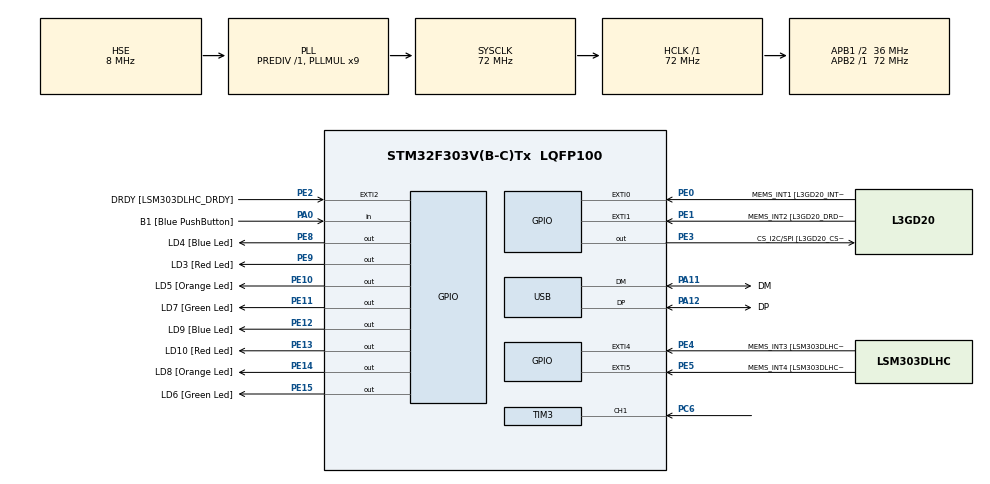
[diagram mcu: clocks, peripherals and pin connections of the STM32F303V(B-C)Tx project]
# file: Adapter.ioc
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Mcu.Family=STM32F3
Mcu.Name=STM32F303V(B-C)Tx
Mcu.Package=LQFP100
NVIC.PriorityGroup=NVIC_PRIORITYGROUP_0
NVIC.TIM3_IRQn=true\:0\:0\:false
NVIC.USB_LP_CAN_RX0_IRQn=true\:0\:0\:false
PA0.GPIO_Label=B1 [Blue PushButton]
PA0.GPIO_Mode=GPIO_MODE_INPUT
PA0.GPIO_PuPd=GPIO_NOPULL
PA0.Signal=GPIO_Input
PA11.GPIO_Label=DM
PA11.GPIO_Mode=GPIO_MODE_AF_PP
PA11.GPIO_PuPd=GPIO_NOPULL
PA11.GPIO_Speed=GPIO_SPEED_HIGH
PA11.Mode=Device
PA11.Signal=USB_DM
PA12.GPIO_Label=DP
PA12.GPIO_Mode=GPIO_MODE_AF_PP
PA12.GPIO_PuPd=GPIO_NOPULL
PA12.GPIO_Speed=GPIO_SPEED_HIGH
PA12.Mode=Device
PA12.Signal=USB_DP
PA13.GPIO_Label=SWDIO
PA13.Mode=Trace-Asynchronous_SW
PA13.Signal=SYS_JTMS-SWDIO
PA14.GPIO_Label=SWCLK
PA14.Mode=Trace-Asynchronous_SW
PA14.Signal=SYS_JTCK-SWCLK
PA5.GPIO_Label=SPI1_SCK [L3GD20_SCL/SPC]
PA5.GPIO_Mode=GPIO_MODE_AF_PP
PA5.GPIO_PuPd=GPIO_NOPULL
PA5.GPIO_Speed=GPIO_SPEED_LOW
PA5.Signal=SPI1_SCK
PA6.GPIO_Label=SPI1_MISO [L3GD20_SA0/SDO]
PA6.GPIO_Mode=GPIO_MODE_AF_PP
PA6.GPIO_PuPd=GPIO_NOPULL
PA6.GPIO_Speed=GPIO_SPEED_LOW
PA6.Signal=SPI1_MISO
PA7.GPIO_Label=SPI1_MISO [L3GD20_SDA/SDI/SDO]
PA7.GPIO_Mode=GPIO_MODE_AF_PP
PA7.GPIO_PuPd=GPIO_NOPULL
PA7.GPIO_Speed=GPIO_SPEED_LOW
PA7.Signal=SPI1_MOSI
PB3.GPIO_Label=SWO
PB3.Mode=Trace-Asynchronous_SW
PB3.Signal=SYS_JTDO-TRACESWO
PB6.GPIO_FM6=__NULL
PB6.GPIO_Label=I2C1_SCL [LSM303DLHC_SCL]
PB6.GPIO_Mode=GPIO_MODE_AF_OD
PB6.GPIO_PuPd=GPIO_NOPULL
PB6.GPIO_PuPdOD=GPIO_PULLUP
PB6.GPIO_Speed=GPIO_SPEED_LOW
PB6.Signal=I2C1_SCL
PB7.GPIO_FM7=__NULL
PB7.GPIO_Label=I2C1_SDA [LSM303DLHC_SDA]
PB7.GPIO_Mode=GPIO_MODE_AF_OD
PB7.GPIO_PuPd=GPIO_NOPULL
PB7.GPIO_PuPdOD=GPIO_PULLUP
PB7.GPIO_Speed=GPIO_SPEED_LOW
PB7.Signal=I2C1_SDA
PC14-OSC32_IN.GPIO_Label=OSC32_IN
PC14-OSC32_IN.Signal=RCC_OSC32_IN
PC15-OSC32_OUT.GPIO_Label=OSC32_OUT
PC15-OSC32_OUT.Signal=RCC_OSC32_OUT
PC6.Signal=S_TIM3_CH1
PE0.GPIO_Label=MEMS_INT1 [L3GD20_INT1]
PE0.GPIO_ModeDefaultEXTI=GPIO_MODE_EVT_RISING
PE0.GPIO_PuPd=GPIO_NOPULL
PE0.Signal=GPXTI0
PE1.GPIO_Label=MEMS_INT2 [L3GD20_DRDY/INT2]
PE1.GPIO_ModeDefaultEXTI=GPIO_MODE_EVT_RISING
PE1.GPIO_PuPd=GPIO_NOPULL
PE1.Signal=GPXTI1
PE10.GPIO_Label=LD5 [Orange Led]
PE10.GPIO_ModeDefaultOutputPP=GPIO_MODE_OUTPUT_PP
PE10.GPIO_PuPd=GPIO_NOPULL
PE10.GPIO_Speed=GPIO_SPEED_LOW
PE10.Signal=GPIO_Output
PE11.GPIO_Label=LD7 [Green Led]
PE11.GPIO_ModeDefaultOutputPP=GPIO_MODE_OUTPUT_PP
PE11.GPIO_PuPd=GPIO_NOPULL
PE11.GPIO_Speed=GPIO_SPEED_LOW
PE11.Signal=GPIO_Output
PE12.GPIO_Label=LD9 [Blue Led]
PE12.GPIO_ModeDefaultOutputPP=GPIO_MODE_OUTPUT_PP
PE12.GPIO_PuPd=GPIO_NOPULL
PE12.GPIO_Speed=GPIO_SPEED_LOW
PE12.Signal=GPIO_Output
PE13.GPIO_Label=LD10 [Red Led]
PE13.GPIO_ModeDefaultOutputPP=GPIO_MODE_OUTPUT_PP
PE13.GPIO_PuPd=GPIO_NOPULL
PE13.GPIO_Speed=GPIO_SPEED_LOW
PE13.Signal=GPIO_Output
PE14.GPIO_Label=LD8 [Orange Led]
PE14.GPIO_ModeDefaultOutputPP=GPIO_MODE_OUTPUT_PP
PE14.GPIO_PuPd=GPIO_NOPULL
PE14.GPIO_Speed=GPIO_SPEED_LOW
PE14.Signal=GPIO_Output
PE15.GPIO_Label=LD6 [Green Led]
PE15.GPIO_ModeDefaultOutputPP=GPIO_MODE_OUTPUT_PP
PE15.GPIO_PuPd=GPIO_NOPULL
PE15.GPIO_Speed=GPIO_SPEED_LOW
PE15.Signal=GPIO_Output
PE2.GPIO_Label=DRDY [LSM303DLHC_DRDY]
PE2.GPIO_ModeDefaultEXTI=GPIO_MODE_EVT_RISING
PE2.GPIO_PuPd=GPIO_NOPULL
PE2.Signal=GPXTI2
PE3.GPIO_Label=CS_I2C/SPI [L3GD20_CS_I2C/SPI]
PE3.GPIO_ModeDefaultOutputPP=GPIO_MODE_OUTPUT_PP
PE3.GPIO_PuPd=GPIO_NOPULL
PE3.GPIO_Speed=GPIO_SPEED_LOW
PE3.Signal=GPIO_Output
PE4.GPIO_Label=MEMS_INT3 [LSM303DLHC_INT1]
PE4.GPIO_ModeDefaultEXTI=GPIO_MODE_EVT_RISING
PE4.GPIO_PuPd=GPIO_NOPULL
PE4.Signal=GPXTI4
PE5.GPIO_Label=MEMS_INT4 [LSM303DLHC_INT2]
PE5.GPIO_ModeDefaultEXTI=GPIO_MODE_EVT_RISING
PE5.GPIO_PuPd=GPIO_NOPULL
PE5.Signal=GPXTI5
PE8.GPIO_Label=LD4 [Blue Led]
PE8.GPIO_ModeDefaultOutputPP=GPIO_MODE_OUTPUT_PP
PE8.GPIO_PuPd=GPIO_NOPULL
PE8.GPIO_Speed=GPIO_SPEED_LOW
PE8.Signal=GPIO_Output
PE9.GPIO_Label=LD3 [Red Led]
PE9.GPIO_ModeDefaultOutputPP=GPIO_MODE_OUTPUT_PP
PE9.GPIO_PuPd=GPIO_NOPULL
PE9.GPIO_Speed=GPIO_SPEED_LOW
PE9.Signal=GPIO_Output
PF0-OSC_IN.GPIO_Label=OSC_IN
PF0-OSC_IN.Mode=HSE-External-Clock-Source
PF0-OSC_IN.Signal=RCC_OSC_IN
PF1-OSC_OUT.GPIO_Label=OSC_OUT
PF1-OSC_OUT.Signal=RCC_OSC_OUT
ProjectManager.TargetToolchain=MDK-ARM V5
RCC.AHBFreq_Value=72000000
RCC.APB1CLKDivider=RCC_HCLK_DIV2
RCC.APB1Freq_Value=36000000
RCC.APB1TimFreq_Value=72000000
RCC.APB2Freq_Value=72000000
RCC.APB2TimFreq_Value=72000000
RCC.CortexFreq_Value=72000000
RCC.HCLKFreq_Value=72000000
RCC.HSE_VALUE=8000000
RCC.HSIState=RCC_HSI_ON
RCC.HSI_VALUE=8000000
RCC.LSE_VALUE=32768
RCC.PLLMUL=RCC_PLL_MUL9
RCC.PRESCALERUSB=RCC_USBPLLCLK_DIV1_5
RCC.SYSCLKFreq_VALUE=72000000
RCC.SYSCLKSourceVirtual=RCC_SYSCLKSOURCE_PLLCLK
RCC.USBFreq_Value=48000000
SH.S_TIM3_CH1.0=TIM3_CH1,TriggerSource_TI1FP1
SH.S_TIM3_CH1.1=TIM3_CH1,Input_Capture1_from_TI1
TIM3.ICPolarity_CH1=TIM_INPUTCHANNELPOLARITY_FALLING
TIM3.Period=0xFFFF
TIM3.Prescaler=71
USB_DEVICE.PID_HID_FS=0x57FF
USB_DEVICE.PRODUCT_STRING_HID_FS=STM32 PPM-USB Adapter
USB_DEVICE.USBD_HandleTypeDef=hUsbDeviceFS
USB_DEVICE.VID=0x483
USB_DEVICE.VirtualMode=Hid
USB_DEVICE.VirtualModeFS=Hid_FS
VP_TIM3_VS_ClockSourceINT.Mode=Internal
VP_TIM3_VS_ControllerModeReset.Mode=Reset Mode
VP_USB_DEVICE_VS_USB_DEVICE_HID_FS.Mode=HID_FS
board=STM32F3DISCOVERY

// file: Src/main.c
/**
  ******************************************************************************
  * File Name          : main.c
  * Description        : Main program body
  ******************************************************************************
  *
  * COPYRIGHT(c) 2015 STMicroelectronics
  *
  * Redistribution and use in source and binary forms, with or without modification,
  * are permitted provided that the following conditions are met:
  *   1. Redistributions of source code must retain the above copyright notice,
  *      this list of conditions and the following disclaimer.
  *   2. Redistributions in binary form must reproduce the above copyright notice,
  *      this list of conditions and the following disclaimer in the documentation
  *      and/or other materials provided with the distribution.
  *   3. Neither the name of STMicroelectronics nor the names of its contributors
  *      may be used to endorse or promote products derived from this software
  *      without specific prior written permission.
  *
  * THIS SOFTWARE IS PROVIDED BY THE COPYRIGHT HOLDERS AND CONTRIBUTORS "AS IS"
  * AND ANY EXPRESS OR IMPLIED WARRANTIES, INCLUDING, BUT NOT LIMITED TO, THE
  * IMPLIED WARRANTIES OF MERCHANTABILITY AND FITNESS FOR A PARTICULAR PURPOSE ARE
  * DISCLAIMED. IN NO EVENT SHALL THE COPYRIGHT HOLDER OR CONTRIBUTORS BE LIABLE
  * FOR ANY DIRECT, INDIRECT, INCIDENTAL, SPECIAL, EXEMPLARY, OR CONSEQUENTIAL
  * DAMAGES (INCLUDING, BUT NOT LIMITED TO, PROCUREMENT OF SUBSTITUTE GOODS OR
  * SERVICES; LOSS OF USE, DATA, OR PROFITS; OR BUSINESS INTERRUPTION) HOWEVER
  * CAUSED AND ON ANY THEORY OF LIABILITY, WHETHER IN CONTRACT, STRICT LIABILITY,
  * OR TORT (INCLUDING NEGLIGENCE OR OTHERWISE) ARISING IN ANY WAY OUT OF THE USE
  * OF THIS SOFTWARE, EVEN IF ADVISED OF THE POSSIBILITY OF SUCH DAMAGE.
  *
  ******************************************************************************
  */
#include "stm32f3xx_hal.h"
#include "usb_device.h"

/* USER CODE BEGIN Includes */
#include "usbd_hid.h"
/* USER CODE END Includes */

TIM_HandleTypeDef htim3;

/* USER CODE BEGIN PV */
/* Private variables ---------------------------------------------------------*/
uint16_t captured_value[8] = {0};
uint16_t rc_data[5] = {0};
uint8_t pointer = 0;
uint8_t data_ready = 0;
/* USER CODE END PV */

void SystemClock_Config(void);
static void MX_GPIO_Init(void);
static void MX_TIM3_Init(void);

/* USER CODE BEGIN PFP */
/* Private function prototypes -----------------------------------------------*/

/* USER CODE END PFP */

/* USER CODE BEGIN 0 */
void HAL_TIM_IC_CaptureCallback(TIM_HandleTypeDef *htim)
{
	uint8_t i;
	uint16_t temp;
	temp = HAL_TIM_ReadCapturedValue(htim, TIM_CHANNEL_1);
	if ((temp > 5000) && (!data_ready))
	{
		pointer = 0;
		for (i = 0; i < 4; i++)
		{
			if (captured_value[i] < 1000)
				captured_value[i] = 1000;
			else if (captured_value[i] > 2000)
				captured_value[i] = 2000;
			rc_data[i] = captured_value[i]-1000;
		};
		rc_data[4] = 0;
		if (captured_value[4] > 1500)
			rc_data[4] |= (1<<4);
		if (captured_value[5] > 1500)
			rc_data[4] |= (1<<5);
		if (captured_value[6] > 1500)
			rc_data[4] |= (1<<6);
		if (captured_value[7] > 1500)
			rc_data[4] |= (1<<7);
		data_ready = 1;
	}
	else
	{
		captured_value[pointer] = temp;
		pointer++;
	};
	if (pointer == 8)
		pointer = 0;
};
/* USER CODE END 0 */

int main(void)
{

  /* MCU Configuration----------------------------------------------------------*/

  /* Reset of all peripherals, Initializes the Flash interface and the Systick. */
  HAL_Init();

  /* Configure the system clock */
  SystemClock_Config();

  /* Initialize all configured peripherals */
  MX_GPIO_Init();
  MX_TIM3_Init();
  MX_USB_DEVICE_Init();

  /* USER CODE BEGIN 2 */
	HAL_TIM_IC_Start_IT(&htim3, TIM_CHANNEL_1);
  /* USER CODE END 2 */

  /* Infinite loop */
  while (1)
  {

  /* USER CODE BEGIN 3 */
		if (data_ready)
		{
			USBD_HID_SendReport(&hUsbDeviceFS, (uint8_t*)rc_data, 10);
			data_ready = 0;
		}
  }
  /* USER CODE END 3 */

}

/** System Clock Configuration
*/
void SystemClock_Config(void)
{

  RCC_OscInitTypeDef RCC_OscInitStruct;
  RCC_ClkInitTypeDef RCC_ClkInitStruct;
  RCC_PeriphCLKInitTypeDef PeriphClkInit;

  RCC_OscInitStruct.OscillatorType = RCC_OSCILLATORTYPE_HSE;
  RCC_OscInitStruct.HSEState = RCC_HSE_BYPASS;
  RCC_OscInitStruct.HSEPredivValue = RCC_HSE_PREDIV_DIV1;
  RCC_OscInitStruct.PLL.PLLState = RCC_PLL_ON;
  RCC_OscInitStruct.PLL.PLLSource = RCC_PLLSOURCE_HSE;
  RCC_OscInitStruct.PLL.PLLMUL = RCC_PLL_MUL9;
  HAL_RCC_OscConfig(&RCC_OscInitStruct);

  RCC_ClkInitStruct.ClockType = RCC_CLOCKTYPE_SYSCLK|RCC_CLOCKTYPE_PCLK1;
  RCC_ClkInitStruct.SYSCLKSource = RCC_SYSCLKSOURCE_PLLCLK;
  RCC_ClkInitStruct.AHBCLKDivider = RCC_SYSCLK_DIV1;
  RCC_ClkInitStruct.APB1CLKDivider = RCC_HCLK_DIV2;
  RCC_ClkInitStruct.APB2CLKDivider = RCC_HCLK_DIV1;
  HAL_RCC_ClockConfig(&RCC_ClkInitStruct, FLASH_LATENCY_2);

  PeriphClkInit.PeriphClockSelection = RCC_PERIPHCLK_USB;
  PeriphClkInit.USBClockSelection = RCC_USBPLLCLK_DIV1_5;
  HAL_RCCEx_PeriphCLKConfig(&PeriphClkInit);

  HAL_SYSTICK_Config(HAL_RCC_GetHCLKFreq()/1000);

  HAL_SYSTICK_CLKSourceConfig(SYSTICK_CLKSOURCE_HCLK);

}

/* TIM3 init function */
void MX_TIM3_Init(void)
{

  TIM_ClockConfigTypeDef sClockSourceConfig;
  TIM_SlaveConfigTypeDef sSlaveConfig;
  TIM_MasterConfigTypeDef sMasterConfig;
  TIM_IC_InitTypeDef sConfigIC;

  htim3.Instance = TIM3;
  htim3.Init.Prescaler = 71;
  htim3.Init.CounterMode = TIM_COUNTERMODE_UP;
  htim3.Init.Period = 0xFFFF;
  htim3.Init.ClockDivision = TIM_CLOCKDIVISION_DIV1;
  HAL_TIM_Base_Init(&htim3);

  sClockSourceConfig.ClockSource = TIM_CLOCKSOURCE_INTERNAL;
  HAL_TIM_ConfigClockSource(&htim3, &sClockSourceConfig);

  HAL_TIM_IC_Init(&htim3);

  sSlaveConfig.SlaveMode = TIM_SLAVEMODE_RESET;
  sSlaveConfig.InputTrigger = TIM_TS_TI1FP1;
  sSlaveConfig.TriggerPolarity = TIM_INPUTCHANNELPOLARITY_FALLING;
  sSlaveConfig.TriggerFilter = 0;
  HAL_TIM_SlaveConfigSynchronization(&htim3, &sSlaveConfig);

  sMasterConfig.MasterOutputTrigger = TIM_TRGO_RESET;
  sMasterConfig.MasterSlaveMode = TIM_MASTERSLAVEMODE_DISABLE;
  HAL_TIMEx_MasterConfigSynchronization(&htim3, &sMasterConfig);

  sConfigIC.ICPolarity = TIM_INPUTCHANNELPOLARITY_FALLING;
  sConfigIC.ICSelection = TIM_ICSELECTION_DIRECTTI;
  sConfigIC.ICPrescaler = TIM_ICPSC_DIV1;
  sConfigIC.ICFilter = 0;
  HAL_TIM_IC_ConfigChannel(&htim3, &sConfigIC, TIM_CHANNEL_1);

}

/** Configure pins as
        * Analog
        * Input
        * Output
        * EVENT_OUT
        * EXTI
     PA5   ------> SPI1_SCK
     PA6   ------> SPI1_MISO
     PA7   ------> SPI1_MOSI
     PB6   ------> I2C1_SCL
     PB7   ------> I2C1_SDA
*/
void MX_GPIO_Init(void)
{

  GPIO_InitTypeDef GPIO_InitStruct;

  /* GPIO Ports Clock Enable */
  __GPIOE_CLK_ENABLE();
  __GPIOC_CLK_ENABLE();
  __GPIOF_CLK_ENABLE();
  __GPIOA_CLK_ENABLE();
  __GPIOB_CLK_ENABLE();

  /*Configure GPIO pins : PE2 PE4 PE5 PE0
                           PE1 */
  GPIO_InitStruct.Pin = GPIO_PIN_2|GPIO_PIN_4|GPIO_PIN_5|GPIO_PIN_0
                          |GPIO_PIN_1;
  GPIO_InitStruct.Mode = GPIO_MODE_EVT_RISING;
  GPIO_InitStruct.Pull = GPIO_NOPULL;
  HAL_GPIO_Init(GPIOE, &GPIO_InitStruct);

  /*Configure GPIO pins : PE3 PE8 PE9 PE10
                           PE11 PE12 PE13 PE14
                           PE15 */
  GPIO_InitStruct.Pin = GPIO_PIN_3|GPIO_PIN_8|GPIO_PIN_9|GPIO_PIN_10
                          |GPIO_PIN_11|GPIO_PIN_12|GPIO_PIN_13|GPIO_PIN_14
                          |GPIO_PIN_15;
  GPIO_InitStruct.Mode = GPIO_MODE_OUTPUT_PP;
  GPIO_InitStruct.Pull = GPIO_NOPULL;
  GPIO_InitStruct.Speed = GPIO_SPEED_LOW;
  HAL_GPIO_Init(GPIOE, &GPIO_InitStruct);

  /*Configure GPIO pin : PA0 */
  GPIO_InitStruct.Pin = GPIO_PIN_0;
  GPIO_InitStruct.Mode = GPIO_MODE_INPUT;
  GPIO_InitStruct.Pull = GPIO_NOPULL;
  HAL_GPIO_Init(GPIOA, &GPIO_InitStruct);

  /*Configure GPIO pins : PA5 PA6 PA7 */
  GPIO_InitStruct.Pin = GPIO_PIN_5|GPIO_PIN_6|GPIO_PIN_7;
  GPIO_InitStruct.Mode = GPIO_MODE_AF_PP;
  GPIO_InitStruct.Pull = GPIO_NOPULL;
  GPIO_InitStruct.Speed = GPIO_SPEED_LOW;
  GPIO_InitStruct.Alternate = GPIO_AF5_SPI1;
  HAL_GPIO_Init(GPIOA, &GPIO_InitStruct);

  /*Configure GPIO pins : PB6 PB7 */
  GPIO_InitStruct.Pin = GPIO_PIN_6|GPIO_PIN_7;
  GPIO_InitStruct.Mode = GPIO_MODE_AF_OD;
  GPIO_InitStruct.Pull = GPIO_PULLUP;
  GPIO_InitStruct.Speed = GPIO_SPEED_LOW;
  GPIO_InitStruct.Alternate = GPIO_AF4_I2C1;
  HAL_GPIO_Init(GPIOB, &GPIO_InitStruct);

}

/************************ (C) COPYRIGHT STMicroelectronics *****END OF FILE****/
